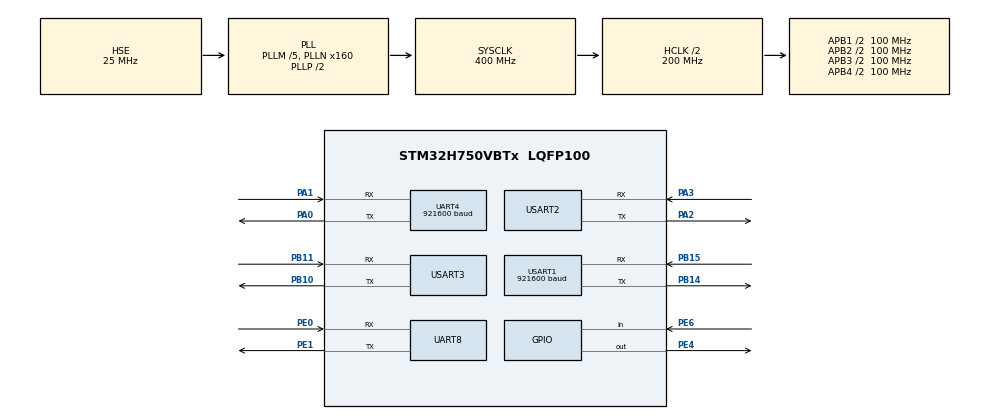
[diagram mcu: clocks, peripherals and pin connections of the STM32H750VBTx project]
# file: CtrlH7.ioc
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CORTEX_M7.CPU_DCache=Enabled
CORTEX_M7.CPU_ICache=Enabled
Dma.Request0=USART1_RX
Dma.Request1=USART1_TX
Dma.Request2=USART2_RX
Dma.Request3=USART3_RX
Dma.Request4=UART4_RX
Dma.Request5=UART4_TX
Dma.Request6=UART8_RX
Dma.Request7=UART8_TX
Dma.Request8=USART2_TX
Dma.UART4_RX.4.Direction=DMA_PERIPH_TO_MEMORY
Dma.UART4_RX.4.EventEnable=DISABLE
Dma.UART4_RX.4.FIFOMode=DMA_FIFOMODE_DISABLE
Dma.UART4_RX.4.Instance=DMA1_Stream4
Dma.UART4_RX.4.MemDataAlignment=DMA_MDATAALIGN_BYTE
Dma.UART4_RX.4.MemInc=DMA_MINC_ENABLE
Dma.UART4_RX.4.Mode=DMA_NORMAL
Dma.UART4_RX.4.PeriphDataAlignment=DMA_PDATAALIGN_BYTE
Dma.UART4_RX.4.PeriphInc=DMA_PINC_DISABLE
Dma.UART4_RX.4.Polarity=HAL_DMAMUX_REQ_GEN_RISING
Dma.UART4_RX.4.Priority=DMA_PRIORITY_LOW
Dma.UART4_RX.4.RequestNumber=1
Dma.UART4_RX.4.SignalID=NONE
Dma.UART4_RX.4.SyncEnable=DISABLE
Dma.UART4_RX.4.SyncPolarity=HAL_DMAMUX_SYNC_NO_EVENT
Dma.UART4_RX.4.SyncRequestNumber=1
Dma.UART4_RX.4.SyncSignalID=NONE
Dma.UART4_TX.5.Direction=DMA_MEMORY_TO_PERIPH
Dma.UART4_TX.5.EventEnable=DISABLE
Dma.UART4_TX.5.FIFOMode=DMA_FIFOMODE_DISABLE
Dma.UART4_TX.5.Instance=DMA1_Stream5
Dma.UART4_TX.5.MemDataAlignment=DMA_MDATAALIGN_BYTE
Dma.UART4_TX.5.MemInc=DMA_MINC_ENABLE
Dma.UART4_TX.5.Mode=DMA_NORMAL
Dma.UART4_TX.5.PeriphDataAlignment=DMA_PDATAALIGN_BYTE
Dma.UART4_TX.5.PeriphInc=DMA_PINC_DISABLE
Dma.UART4_TX.5.Polarity=HAL_DMAMUX_REQ_GEN_RISING
Dma.UART4_TX.5.Priority=DMA_PRIORITY_LOW
Dma.UART4_TX.5.RequestNumber=1
Dma.UART4_TX.5.SignalID=NONE
Dma.UART4_TX.5.SyncEnable=DISABLE
Dma.UART4_TX.5.SyncPolarity=HAL_DMAMUX_SYNC_NO_EVENT
Dma.UART4_TX.5.SyncRequestNumber=1
Dma.UART4_TX.5.SyncSignalID=NONE
Dma.UART8_RX.6.Direction=DMA_PERIPH_TO_MEMORY
Dma.UART8_RX.6.EventEnable=DISABLE
Dma.UART8_RX.6.FIFOMode=DMA_FIFOMODE_DISABLE
Dma.UART8_RX.6.Instance=DMA1_Stream6
Dma.UART8_RX.6.MemDataAlignment=DMA_MDATAALIGN_BYTE
Dma.UART8_RX.6.MemInc=DMA_MINC_ENABLE
Dma.UART8_RX.6.Mode=DMA_NORMAL
Dma.UART8_RX.6.PeriphDataAlignment=DMA_PDATAALIGN_BYTE
Dma.UART8_RX.6.PeriphInc=DMA_PINC_DISABLE
Dma.UART8_RX.6.Polarity=HAL_DMAMUX_REQ_GEN_RISING
Dma.UART8_RX.6.Priority=DMA_PRIORITY_LOW
Dma.UART8_RX.6.RequestNumber=1
Dma.UART8_RX.6.SignalID=NONE
Dma.UART8_RX.6.SyncEnable=DISABLE
Dma.UART8_RX.6.SyncPolarity=HAL_DMAMUX_SYNC_NO_EVENT
Dma.UART8_RX.6.SyncRequestNumber=1
Dma.UART8_RX.6.SyncSignalID=NONE
Dma.UART8_TX.7.Direction=DMA_MEMORY_TO_PERIPH
Dma.UART8_TX.7.EventEnable=DISABLE
Dma.UART8_TX.7.FIFOMode=DMA_FIFOMODE_DISABLE
Dma.UART8_TX.7.Instance=DMA1_Stream7
Dma.UART8_TX.7.MemDataAlignment=DMA_MDATAALIGN_BYTE
Dma.UART8_TX.7.MemInc=DMA_MINC_ENABLE
Dma.UART8_TX.7.Mode=DMA_NORMAL
Dma.UART8_TX.7.PeriphDataAlignment=DMA_PDATAALIGN_BYTE
Dma.UART8_TX.7.PeriphInc=DMA_PINC_DISABLE
Dma.UART8_TX.7.Polarity=HAL_DMAMUX_REQ_GEN_RISING
Dma.UART8_TX.7.Priority=DMA_PRIORITY_LOW
Dma.UART8_TX.7.RequestNumber=1
Dma.UART8_TX.7.SignalID=NONE
Dma.UART8_TX.7.SyncEnable=DISABLE
Dma.UART8_TX.7.SyncPolarity=HAL_DMAMUX_SYNC_NO_EVENT
Dma.UART8_TX.7.SyncRequestNumber=1
Dma.UART8_TX.7.SyncSignalID=NONE
Dma.USART1_RX.0.Direction=DMA_PERIPH_TO_MEMORY
Dma.USART1_RX.0.EventEnable=DISABLE
Dma.USART1_RX.0.FIFOMode=DMA_FIFOMODE_DISABLE
Dma.USART1_RX.0.Instance=DMA1_Stream0
Dma.USART1_RX.0.MemDataAlignment=DMA_MDATAALIGN_BYTE
Dma.USART1_RX.0.MemInc=DMA_MINC_ENABLE
Dma.USART1_RX.0.Mode=DMA_NORMAL
Dma.USART1_RX.0.PeriphDataAlignment=DMA_PDATAALIGN_BYTE
Dma.USART1_RX.0.PeriphInc=DMA_PINC_DISABLE
Dma.USART1_RX.0.Polarity=HAL_DMAMUX_REQ_GEN_RISING
Dma.USART1_RX.0.Priority=DMA_PRIORITY_LOW
Dma.USART1_RX.0.RequestNumber=1
Dma.USART1_RX.0.SignalID=NONE
Dma.USART1_RX.0.SyncEnable=DISABLE
Dma.USART1_RX.0.SyncPolarity=HAL_DMAMUX_SYNC_NO_EVENT
Dma.USART1_RX.0.SyncRequestNumber=1
Dma.USART1_RX.0.SyncSignalID=NONE
Dma.USART1_TX.1.Direction=DMA_MEMORY_TO_PERIPH
Dma.USART1_TX.1.EventEnable=DISABLE
Dma.USART1_TX.1.FIFOMode=DMA_FIFOMODE_DISABLE
Dma.USART1_TX.1.Instance=DMA1_Stream1
Dma.USART1_TX.1.MemDataAlignment=DMA_MDATAALIGN_BYTE
Dma.USART1_TX.1.MemInc=DMA_MINC_ENABLE
Dma.USART1_TX.1.Mode=DMA_NORMAL
Dma.USART1_TX.1.PeriphDataAlignment=DMA_PDATAALIGN_BYTE
Dma.USART1_TX.1.PeriphInc=DMA_PINC_DISABLE
Dma.USART1_TX.1.Polarity=HAL_DMAMUX_REQ_GEN_RISING
Dma.USART1_TX.1.Priority=DMA_PRIORITY_LOW
Dma.USART1_TX.1.RequestNumber=1
Dma.USART1_TX.1.SignalID=NONE
Dma.USART1_TX.1.SyncEnable=DISABLE
Dma.USART1_TX.1.SyncPolarity=HAL_DMAMUX_SYNC_NO_EVENT
Dma.USART1_TX.1.SyncRequestNumber=1
Dma.USART1_TX.1.SyncSignalID=NONE
Dma.USART2_RX.2.Direction=DMA_PERIPH_TO_MEMORY
Dma.USART2_RX.2.EventEnable=DISABLE
Dma.USART2_RX.2.FIFOMode=DMA_FIFOMODE_DISABLE
Dma.USART2_RX.2.Instance=DMA1_Stream2
Dma.USART2_RX.2.MemDataAlignment=DMA_MDATAALIGN_BYTE
Dma.USART2_RX.2.MemInc=DMA_MINC_ENABLE
Dma.USART2_RX.2.Mode=DMA_NORMAL
Dma.USART2_RX.2.PeriphDataAlignment=DMA_PDATAALIGN_BYTE
Dma.USART2_RX.2.PeriphInc=DMA_PINC_DISABLE
Dma.USART2_RX.2.Polarity=HAL_DMAMUX_REQ_GEN_RISING
Dma.USART2_RX.2.Priority=DMA_PRIORITY_LOW
Dma.USART2_RX.2.RequestNumber=1
Dma.USART2_RX.2.SignalID=NONE
Dma.USART2_RX.2.SyncEnable=DISABLE
Dma.USART2_RX.2.SyncPolarity=HAL_DMAMUX_SYNC_NO_EVENT
Dma.USART2_RX.2.SyncRequestNumber=1
Dma.USART2_RX.2.SyncSignalID=NONE
Dma.USART2_TX.8.Direction=DMA_MEMORY_TO_PERIPH
Dma.USART2_TX.8.EventEnable=DISABLE
Dma.USART2_TX.8.FIFOMode=DMA_FIFOMODE_DISABLE
Dma.USART2_TX.8.Instance=DMA2_Stream0
Dma.USART2_TX.8.MemDataAlignment=DMA_MDATAALIGN_BYTE
Dma.USART2_TX.8.MemInc=DMA_MINC_ENABLE
Dma.USART2_TX.8.Mode=DMA_NORMAL
Dma.USART2_TX.8.PeriphDataAlignment=DMA_PDATAALIGN_BYTE
Dma.USART2_TX.8.PeriphInc=DMA_PINC_DISABLE
Dma.USART2_TX.8.Polarity=HAL_DMAMUX_REQ_GEN_RISING
Dma.USART2_TX.8.Priority=DMA_PRIORITY_LOW
Dma.USART2_TX.8.RequestNumber=1
Dma.USART2_TX.8.SignalID=NONE
Dma.USART2_TX.8.SyncEnable=DISABLE
Dma.USART2_TX.8.SyncPolarity=HAL_DMAMUX_SYNC_NO_EVENT
Dma.USART2_TX.8.SyncRequestNumber=1
Dma.USART2_TX.8.SyncSignalID=NONE
Dma.USART3_RX.3.Direction=DMA_PERIPH_TO_MEMORY
Dma.USART3_RX.3.EventEnable=DISABLE
Dma.USART3_RX.3.FIFOMode=DMA_FIFOMODE_DISABLE
Dma.USART3_RX.3.Instance=DMA1_Stream3
Dma.USART3_RX.3.MemDataAlignment=DMA_MDATAALIGN_BYTE
Dma.USART3_RX.3.MemInc=DMA_MINC_ENABLE
Dma.USART3_RX.3.Mode=DMA_NORMAL
Dma.USART3_RX.3.PeriphDataAlignment=DMA_PDATAALIGN_BYTE
Dma.USART3_RX.3.PeriphInc=DMA_PINC_DISABLE
Dma.USART3_RX.3.Polarity=HAL_DMAMUX_REQ_GEN_RISING
Dma.USART3_RX.3.Priority=DMA_PRIORITY_LOW
Dma.USART3_RX.3.RequestNumber=1
Dma.USART3_RX.3.SignalID=NONE
Dma.USART3_RX.3.SyncEnable=DISABLE
Dma.USART3_RX.3.SyncPolarity=HAL_DMAMUX_SYNC_NO_EVENT
Dma.USART3_RX.3.SyncRequestNumber=1
Dma.USART3_RX.3.SyncSignalID=NONE
FREERTOS.Tasks01=UpTask,0,128,UpTaskF,Default,NULL,Dynamic,NULL,NULL;DownTask,0,128,DownTaskF,Default,NULL,Dynamic,NULL,NULL;InitialTask,3,128,InitialTaskF,Default,NULL,Dynamic,NULL,NULL;SensorTask,0,128,SensorTaskF,Default,NULL,Dynamic,NULL,NULL;EmptyTask,-3,128,EmptyTaskF,Default,NULL,Dynamic,NULL,NULL
FREERTOS.configENABLE_FPU=1
IWDG1.Reload=2047
IWDG1.Window=2047
Mcu.Family=STM32H7
Mcu.Name=STM32H750VBTx
Mcu.Package=LQFP100
NVIC.DMA1_Stream0_IRQn=true\:5\:0\:false\:false\:true\:true\:false\:true
NVIC.DMA1_Stream1_IRQn=true\:5\:0\:false\:false\:true\:true\:false\:true
NVIC.DMA1_Stream2_IRQn=true\:5\:0\:false\:false\:true\:true\:false\:true
NVIC.DMA1_Stream3_IRQn=true\:5\:0\:false\:false\:true\:true\:false\:true
NVIC.DMA1_Stream4_IRQn=true\:5\:0\:false\:false\:true\:true\:false\:true
NVIC.DMA1_Stream5_IRQn=true\:5\:0\:false\:false\:true\:true\:false\:true
NVIC.DMA1_Stream6_IRQn=true\:5\:0\:false\:false\:true\:true\:false\:true
NVIC.DMA1_Stream7_IRQn=true\:5\:0\:false\:false\:true\:true\:false\:true
NVIC.DMA2_Stream0_IRQn=true\:5\:0\:false\:false\:true\:true\:false\:true
NVIC.PriorityGroup=NVIC_PRIORITYGROUP_4
NVIC.TIM6_DAC_IRQn=true\:0\:0\:false\:false\:true\:false\:false\:true
NVIC.TimeBase=TIM6_DAC_IRQn
NVIC.TimeBaseIP=TIM6
NVIC.UART4_IRQn=true\:5\:0\:false\:false\:true\:true\:true\:true
NVIC.UART8_IRQn=true\:5\:0\:false\:false\:true\:true\:true\:true
NVIC.USART1_IRQn=true\:5\:0\:false\:false\:true\:true\:true\:true
NVIC.USART2_IRQn=true\:5\:0\:false\:false\:true\:true\:true\:true
NVIC.USART3_IRQn=true\:5\:0\:false\:false\:true\:true\:true\:true
PA0.Mode=Asynchronous
PA0.Signal=UART4_TX
PA1.Mode=Asynchronous
PA1.Signal=UART4_RX
PA13\ (JTMS/SWDIO).Mode=Serial_Wire
PA13\ (JTMS/SWDIO).Signal=DEBUG_JTMS-SWDIO
PA14\ (JTCK/SWCLK).Mode=Serial_Wire
PA14\ (JTCK/SWCLK).Signal=DEBUG_JTCK-SWCLK
PA2.Mode=Asynchronous
PA2.Signal=USART2_TX
PA3.Mode=Asynchronous
PA3.Signal=USART2_RX
PB10.Mode=Asynchronous
PB10.Signal=USART3_TX
PB11.Mode=Asynchronous
PB11.Signal=USART3_RX
PB14.Mode=Asynchronous
PB14.Signal=USART1_TX
PB15.Mode=Asynchronous
PB15.Signal=USART1_RX
PC14-OSC32_IN\ (OSC32_IN).Mode=LSE-External-Oscillator
PC14-OSC32_IN\ (OSC32_IN).Signal=RCC_OSC32_IN
PC15-OSC32_OUT\ (OSC32_OUT).Mode=LSE-External-Oscillator
PC15-OSC32_OUT\ (OSC32_OUT).Signal=RCC_OSC32_OUT
PE0.Mode=Asynchronous
PE0.Signal=UART8_RX
PE1.Mode=Asynchronous
PE1.Signal=UART8_TX
PE4.Signal=GPIO_Output
PE6.Signal=GPIO_Input
PH0-OSC_IN\ (PH0).Mode=HSE-External-Oscillator
PH0-OSC_IN\ (PH0).Signal=RCC_OSC_IN
PH1-OSC_OUT\ (PH1).Mode=HSE-External-Oscillator
PH1-OSC_OUT\ (PH1).Signal=RCC_OSC_OUT
ProjectManager.HeapSize=0x200
ProjectManager.StackSize=0x400
ProjectManager.TargetToolchain=MDK-ARM V5.27
RCC.ADCFreq_Value=75000000
RCC.APB1Freq_Value=100000000
RCC.APB2Freq_Value=100000000
RCC.APB3Freq_Value=100000000
RCC.APB4Freq_Value=100000000
RCC.CortexFreq_Value=400000000
RCC.D1PPRE=RCC_APB3_DIV2
RCC.D2PPRE1=RCC_APB1_DIV2
RCC.D2PPRE2=RCC_APB2_DIV2
RCC.D3PPRE=RCC_APB4_DIV2
RCC.DIVM1=5
RCC.DIVM2=2
RCC.DIVM3=25
RCC.DIVN1=160
RCC.DIVN2=12
RCC.DIVN3=192
RCC.DIVQ1=6
RCC.DIVQ2=1
RCC.HCLKFreq_Value=200000000
RCC.HPRE=RCC_HCLK_DIV2
RCC.PLLSourceVirtual=RCC_PLLSOURCE_HSE
RCC.QSPICLockSelection=RCC_QSPICLKSOURCE_PLL
RCC.SYSCLKFreq_VALUE=400000000
RCC.SYSCLKSource=RCC_SYSCLKSOURCE_PLLCLK
RCC.SupplySource=PWR_LDO_SUPPLY
RCC.USART16CLockSelection=RCC_USART16CLKSOURCE_PLL3
RCC.USART234578CLockSelection=RCC_USART234578CLKSOURCE_PLL3
RCC.USBFreq_Value=133333333.33333333
UART4.BaudRate=921600
USART1.BaudRate=921600
USART1.VirtualMode-Asynchronous=VM_ASYNC
USART2.VirtualMode-Asynchronous=VM_ASYNC
USART3.VirtualMode-Asynchronous=VM_ASYNC
VP_FREERTOS_VS_CMSIS_V1.Mode=CMSIS_V1
VP_IWDG1_VS_IWDG.Mode=IWDG_Activate
VP_SYS_VS_tim6.Mode=TIM6
board=custom

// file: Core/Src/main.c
/* USER CODE BEGIN Header */
/**
 ******************************************************************************
 * @file           : main.c
 * @brief          : Main program body
 ******************************************************************************
 * @attention
 *
 * <h2><center>&copy; Copyright (c) 2021 STMicroelectronics.
 * All rights reserved.</center></h2>
 *
 * This software component is licensed by ST under Ultimate Liberty license
 * SLA0044, the "License"; You may not use this file except in compliance with
 * the License. You may obtain a copy of the License at:
 *                             www.st.com/SLA0044
 *
 ******************************************************************************
 */
/* USER CODE END Header */
#include "main.h"
#include "cmsis_os.h"

/* USER CODE BEGIN PM */
u8 SensorCabin = 0; 		//上传传感器仓位标志位
u8 UpSideFinish = 0; 		//上位机接收完毕标志位
u8 DownSideFinish = 0; 		//下位机接收完毕标志位

//传感器读取完成标志位
u8 DeepFinish = 0;			//水深传感器读取完成标志位
u8 GY39Finish = 0;			//温湿度大气压传感器读取完成标志位
u8 WT931Finish = 0;			//九轴读取完成标志位

//传感器缓存读写标志位
volatile u8 DeepIO = 0;		//水深传感器缓存读写标志位
volatile u8 GY39IO = 0;		//温湿度大气压传感器缓存读写标志位
volatile u8 WT931IO = 0;	//九轴缓存读写标志位

volatile u8 UpIO = 0; 		//上位发送指令读写标志位
volatile u8 DownIO = 0;		//下位回传数据读写标志位

u8 DownEn = 0; 				//允许下位机数据回传标志位

u8 UpCache[UART1RXLen]; 	//上位发送数据缓存
u8 DownCache[UART8RXLen]; 	//下位回传数据缓存

u8 DIPFlag = 0; 			//定向定深初始标志位
u16 DIPStartNum = 0; 		//定向定深初始值

u8 WaterDetect = 0;			//漏水检测标志位

//传感器缓存区
u16 AccelerationCache[3] =
{ 0 }; //加速度值缓存区
u16 RotSpeedCache[3] =
{ 0 }; //角速度值缓存区
u16 EulerAngleCache[3] =
{ 0 }; //角度值缓存区
u16 MagnetisCache[3] =
{ 0 }; //磁偏角值缓存区
u16 TemCache = 0; //温度值缓存区
u16 BaroCache[2] =
{ 0 }; //大气压值缓存区
u16 HumCache = 0; //湿度值缓存区
u16 DepthCache = 0; //水深值缓存区
u16 WaterTempertureCache = 0; //水温值缓存区

u8 WT931Len = 0; //传感器数据长度

//串口1DMA缓存
u8 UART1RXCache[UART1RXLen]; //上位机（MT7621）指令接收缓存区
u8 UART1TXCache_P[UART1TXLen]; //上位机（MT7621）传感器数据发缓存区，数据来自下位仓STM32
u8 UART1TXCache_C[UART1TXLen]; //上位机（MT7621）传感器数据发缓存区，数据来自本仓传感器
//串口2DMA缓存
u8 UART2RXCache[UART2RXLen]; //温湿度大气压传感器串口数据接收缓存区
u8 UART2TXCache[UART2TXLen]; //温湿度大气压传感器串口数据发送缓存区
//串口3DMA缓存
u8 UART3RXCache[UART3RXLen]; //九轴传感器串口数据接收缓存区
//串口4DMA缓存
u8 UART4RXCache[UART4RXLen]; //深度传感器（解算板）数据接收缓存区
u8 UART4TXCache[UART4TXLen]; //深度传感器（解算板）数据发送缓存区
//串口8DMA缓存
u8 UART8RXCache[UART8RXLen]; //下位仓通信串口数据接收缓存
u8 UART8TXCache[UART8TXLen]; //下位仓通信串口数据发送缓存

/* USER CODE END PM */

IWDG_HandleTypeDef hiwdg1;

UART_HandleTypeDef huart4;
UART_HandleTypeDef huart8;
UART_HandleTypeDef huart1;
UART_HandleTypeDef huart2;
UART_HandleTypeDef huart3;
DMA_HandleTypeDef hdma_uart4_rx;
DMA_HandleTypeDef hdma_uart4_tx;
DMA_HandleTypeDef hdma_uart8_rx;
DMA_HandleTypeDef hdma_uart8_tx;
DMA_HandleTypeDef hdma_usart1_rx;
DMA_HandleTypeDef hdma_usart1_tx;
DMA_HandleTypeDef hdma_usart2_rx;
DMA_HandleTypeDef hdma_usart2_tx;
DMA_HandleTypeDef hdma_usart3_rx;

osThreadId UpTaskHandle;
osThreadId DownTaskHandle;
osThreadId InitialTaskHandle;
osThreadId SensorTaskHandle;
osThreadId EmptyTaskHandle;

void SystemClock_Config(void);
void PeriphCommonClock_Config(void);
static void MX_GPIO_Init(void);
static void MX_DMA_Init(void);
static void MX_IWDG1_Init(void);
static void MX_UART4_Init(void);
static void MX_UART8_Init(void);
static void MX_USART1_UART_Init(void);
static void MX_USART2_UART_Init(void);
static void MX_USART3_UART_Init(void);
void UpTaskF(void const * argument);
void DownTaskF(void const * argument);
void InitialTaskF(void const * argument);
void SensorTaskF(void const * argument);
void EmptyTaskF(void const * argument);

int main(void)
{

  /* Enable I-Cache---------------------------------------------------------*/
  SCB_EnableICache();

  /* Enable D-Cache---------------------------------------------------------*/
  SCB_EnableDCache();

  /* MCU Configuration--------------------------------------------------------*/

  /* Reset of all peripherals, Initializes the Flash interface and the Systick. */
  HAL_Init();

  /* Configure the system clock */
  SystemClock_Config();

/* Configure the peripherals common clocks */
  PeriphCommonClock_Config();

  /* Initialize all configured peripherals */
  MX_GPIO_Init();
  MX_DMA_Init();
  MX_IWDG1_Init();
  MX_UART4_Init();
  MX_UART8_Init();
  MX_USART1_UART_Init();
  MX_USART2_UART_Init();
  MX_USART3_UART_Init();

  /* Create the thread(s) */
  /* definition and creation of UpTask */
  osThreadDef(UpTask, UpTaskF, osPriorityNormal, 0, 128);
  UpTaskHandle = osThreadCreate(osThread(UpTask), NULL);

  /* definition and creation of DownTask */
  osThreadDef(DownTask, DownTaskF, osPriorityNormal, 0, 128);
  DownTaskHandle = osThreadCreate(osThread(DownTask), NULL);

  /* definition and creation of InitialTask */
  osThreadDef(InitialTask, InitialTaskF, osPriorityRealtime, 0, 128);
  InitialTaskHandle = osThreadCreate(osThread(InitialTask), NULL);

  /* definition and creation of SensorTask */
  osThreadDef(SensorTask, SensorTaskF, osPriorityNormal, 0, 128);
  SensorTaskHandle = osThreadCreate(osThread(SensorTask), NULL);

  /* definition and creation of EmptyTask */
  osThreadDef(EmptyTask, EmptyTaskF, osPriorityIdle, 0, 128);
  EmptyTaskHandle = osThreadCreate(osThread(EmptyTask), NULL);

  /* Start scheduler */
  osKernelStart();

  /* We should never get here as control is now taken by the scheduler */
  /* Infinite loop */
	while (1)
	{

	}
}

void SystemClock_Config(void)
{
  RCC_OscInitTypeDef RCC_OscInitStruct = {0};
  RCC_ClkInitTypeDef RCC_ClkInitStruct = {0};

  /** Supply configuration update enable
  */
  HAL_PWREx_ConfigSupply(PWR_LDO_SUPPLY);
  /** Configure the main internal regulator output voltage
  */
  __HAL_PWR_VOLTAGESCALING_CONFIG(PWR_REGULATOR_VOLTAGE_SCALE1);

  while(!__HAL_PWR_GET_FLAG(PWR_FLAG_VOSRDY)) {}
  /** Macro to configure the PLL clock source
  */
  __HAL_RCC_PLL_PLLSOURCE_CONFIG(RCC_PLLSOURCE_HSE);
  /** Initializes the RCC Oscillators according to the specified parameters
  * in the RCC_OscInitTypeDef structure.
  */
  RCC_OscInitStruct.OscillatorType = RCC_OSCILLATORTYPE_LSI|RCC_OSCILLATORTYPE_HSE;
  RCC_OscInitStruct.HSEState = RCC_HSE_ON;
  RCC_OscInitStruct.LSIState = RCC_LSI_ON;
  RCC_OscInitStruct.PLL.PLLState = RCC_PLL_ON;
  RCC_OscInitStruct.PLL.PLLSource = RCC_PLLSOURCE_HSE;
  RCC_OscInitStruct.PLL.PLLM = 5;
  RCC_OscInitStruct.PLL.PLLN = 160;
  RCC_OscInitStruct.PLL.PLLP = 2;
  RCC_OscInitStruct.PLL.PLLQ = 6;
  RCC_OscInitStruct.PLL.PLLR = 2;
  RCC_OscInitStruct.PLL.PLLRGE = RCC_PLL1VCIRANGE_2;
  RCC_OscInitStruct.PLL.PLLVCOSEL = RCC_PLL1VCOWIDE;
  RCC_OscInitStruct.PLL.PLLFRACN = 0;
  if (HAL_RCC_OscConfig(&RCC_OscInitStruct) != HAL_OK)
  {
    Error_Handler();
  }
  /** Initializes the CPU, AHB and APB buses clocks
  */
  RCC_ClkInitStruct.ClockType = RCC_CLOCKTYPE_HCLK|RCC_CLOCKTYPE_SYSCLK
                              |RCC_CLOCKTYPE_PCLK1|RCC_CLOCKTYPE_PCLK2
                              |RCC_CLOCKTYPE_D3PCLK1|RCC_CLOCKTYPE_D1PCLK1;
  RCC_ClkInitStruct.SYSCLKSource = RCC_SYSCLKSOURCE_PLLCLK;
  RCC_ClkInitStruct.SYSCLKDivider = RCC_SYSCLK_DIV1;
  RCC_ClkInitStruct.AHBCLKDivider = RCC_HCLK_DIV2;
  RCC_ClkInitStruct.APB3CLKDivider = RCC_APB3_DIV2;
  RCC_ClkInitStruct.APB1CLKDivider = RCC_APB1_DIV2;
  RCC_ClkInitStruct.APB2CLKDivider = RCC_APB2_DIV2;
  RCC_ClkInitStruct.APB4CLKDivider = RCC_APB4_DIV2;

  if (HAL_RCC_ClockConfig(&RCC_ClkInitStruct, FLASH_LATENCY_2) != HAL_OK)
  {
    Error_Handler();
  }
}

void PeriphCommonClock_Config(void)
{
  RCC_PeriphCLKInitTypeDef PeriphClkInitStruct = {0};

  /** Initializes the peripherals clock
  */
  PeriphClkInitStruct.PeriphClockSelection = RCC_PERIPHCLK_UART8|RCC_PERIPHCLK_USART1
                              |RCC_PERIPHCLK_UART4|RCC_PERIPHCLK_USART2
                              |RCC_PERIPHCLK_USART3;
  PeriphClkInitStruct.PLL3.PLL3M = 25;
  PeriphClkInitStruct.PLL3.PLL3N = 192;
  PeriphClkInitStruct.PLL3.PLL3P = 2;
  PeriphClkInitStruct.PLL3.PLL3Q = 2;
  PeriphClkInitStruct.PLL3.PLL3R = 2;
  PeriphClkInitStruct.PLL3.PLL3RGE = RCC_PLL3VCIRANGE_0;
  PeriphClkInitStruct.PLL3.PLL3VCOSEL = RCC_PLL3VCOWIDE;
  PeriphClkInitStruct.PLL3.PLL3FRACN = 0;
  PeriphClkInitStruct.Usart234578ClockSelection = RCC_USART234578CLKSOURCE_PLL3;
  PeriphClkInitStruct.Usart16ClockSelection = RCC_USART16CLKSOURCE_PLL3;
  if (HAL_RCCEx_PeriphCLKConfig(&PeriphClkInitStruct) != HAL_OK)
  {
    Error_Handler();
  }
}

static void MX_IWDG1_Init(void)
{

  hiwdg1.Instance = IWDG1;
  hiwdg1.Init.Prescaler = IWDG_PRESCALER_4;
  hiwdg1.Init.Window = 2047;
  hiwdg1.Init.Reload = 2047;
  if (HAL_IWDG_Init(&hiwdg1) != HAL_OK)
  {
    Error_Handler();
  }

}

static void MX_UART4_Init(void)
{

  huart4.Instance = UART4;
  huart4.Init.BaudRate = 921600;
  huart4.Init.WordLength = UART_WORDLENGTH_8B;
  huart4.Init.StopBits = UART_STOPBITS_1;
  huart4.Init.Parity = UART_PARITY_NONE;
  huart4.Init.Mode = UART_MODE_TX_RX;
  huart4.Init.HwFlowCtl = UART_HWCONTROL_NONE;
  huart4.Init.OverSampling = UART_OVERSAMPLING_16;
  huart4.Init.OneBitSampling = UART_ONE_BIT_SAMPLE_DISABLE;
  huart4.Init.ClockPrescaler = UART_PRESCALER_DIV1;
  huart4.AdvancedInit.AdvFeatureInit = UART_ADVFEATURE_NO_INIT;
  if (HAL_UART_Init(&huart4) != HAL_OK)
  {
    Error_Handler();
  }
  if (HAL_UARTEx_SetTxFifoThreshold(&huart4, UART_TXFIFO_THRESHOLD_1_8) != HAL_OK)
  {
    Error_Handler();
  }
  if (HAL_UARTEx_SetRxFifoThreshold(&huart4, UART_RXFIFO_THRESHOLD_1_8) != HAL_OK)
  {
    Error_Handler();
  }
  if (HAL_UARTEx_DisableFifoMode(&huart4) != HAL_OK)
  {
    Error_Handler();
  }

}

static void MX_UART8_Init(void)
{

  huart8.Instance = UART8;
  huart8.Init.BaudRate = 115200;
  huart8.Init.WordLength = UART_WORDLENGTH_8B;
  huart8.Init.StopBits = UART_STOPBITS_1;
  huart8.Init.Parity = UART_PARITY_NONE;
  huart8.Init.Mode = UART_MODE_TX_RX;
  huart8.Init.HwFlowCtl = UART_HWCONTROL_NONE;
  huart8.Init.OverSampling = UART_OVERSAMPLING_16;
  huart8.Init.OneBitSampling = UART_ONE_BIT_SAMPLE_DISABLE;
  huart8.Init.ClockPrescaler = UART_PRESCALER_DIV1;
  huart8.AdvancedInit.AdvFeatureInit = UART_ADVFEATURE_NO_INIT;
  if (HAL_UART_Init(&huart8) != HAL_OK)
  {
    Error_Handler();
  }
  if (HAL_UARTEx_SetTxFifoThreshold(&huart8, UART_TXFIFO_THRESHOLD_1_8) != HAL_OK)
  {
    Error_Handler();
  }
  if (HAL_UARTEx_SetRxFifoThreshold(&huart8, UART_RXFIFO_THRESHOLD_1_8) != HAL_OK)
  {
    Error_Handler();
  }
  if (HAL_UARTEx_DisableFifoMode(&huart8) != HAL_OK)
  {
    Error_Handler();
  }

}

static void MX_USART1_UART_Init(void)
{

  huart1.Instance = USART1;
  huart1.Init.BaudRate = 921600;
  huart1.Init.WordLength = UART_WORDLENGTH_8B;
  huart1.Init.StopBits = UART_STOPBITS_1;
  huart1.Init.Parity = UART_PARITY_NONE;
  huart1.Init.Mode = UART_MODE_TX_RX;
  huart1.Init.HwFlowCtl = UART_HWCONTROL_NONE;
  huart1.Init.OverSampling = UART_OVERSAMPLING_16;
  huart1.Init.OneBitSampling = UART_ONE_BIT_SAMPLE_DISABLE;
  huart1.Init.ClockPrescaler = UART_PRESCALER_DIV1;
  huart1.AdvancedInit.AdvFeatureInit = UART_ADVFEATURE_NO_INIT;
  if (HAL_UART_Init(&huart1) != HAL_OK)
  {
    Error_Handler();
  }
  if (HAL_UARTEx_SetTxFifoThreshold(&huart1, UART_TXFIFO_THRESHOLD_1_8) != HAL_OK)
  {
    Error_Handler();
  }
  if (HAL_UARTEx_SetRxFifoThreshold(&huart1, UART_RXFIFO_THRESHOLD_1_8) != HAL_OK)
  {
    Error_Handler();
  }
  if (HAL_UARTEx_DisableFifoMode(&huart1) != HAL_OK)
  {
    Error_Handler();
  }

}

static void MX_USART2_UART_Init(void)
{

  huart2.Instance = USART2;
  huart2.Init.BaudRate = 115200;
  huart2.Init.WordLength = UART_WORDLENGTH_8B;
  huart2.Init.StopBits = UART_STOPBITS_1;
  huart2.Init.Parity = UART_PARITY_NONE;
  huart2.Init.Mode = UART_MODE_TX_RX;
  huart2.Init.HwFlowCtl = UART_HWCONTROL_NONE;
  huart2.Init.OverSampling = UART_OVERSAMPLING_16;
  huart2.Init.OneBitSampling = UART_ONE_BIT_SAMPLE_DISABLE;
  huart2.Init.ClockPrescaler = UART_PRESCALER_DIV1;
  huart2.AdvancedInit.AdvFeatureInit = UART_ADVFEATURE_NO_INIT;
  if (HAL_UART_Init(&huart2) != HAL_OK)
  {
    Error_Handler();
  }
  if (HAL_UARTEx_SetTxFifoThreshold(&huart2, UART_TXFIFO_THRESHOLD_1_8) != HAL_OK)
  {
    Error_Handler();
  }
  if (HAL_UARTEx_SetRxFifoThreshold(&huart2, UART_RXFIFO_THRESHOLD_1_8) != HAL_OK)
  {
    Error_Handler();
  }
  if (HAL_UARTEx_DisableFifoMode(&huart2) != HAL_OK)
  {
    Error_Handler();
  }

}

static void MX_USART3_UART_Init(void)
{

  huart3.Instance = USART3;
  huart3.Init.BaudRate = 115200;
  huart3.Init.WordLength = UART_WORDLENGTH_8B;
  huart3.Init.StopBits = UART_STOPBITS_1;
  huart3.Init.Parity = UART_PARITY_NONE;
  huart3.Init.Mode = UART_MODE_TX_RX;
  huart3.Init.HwFlowCtl = UART_HWCONTROL_NONE;
  huart3.Init.OverSampling = UART_OVERSAMPLING_16;
  huart3.Init.OneBitSampling = UART_ONE_BIT_SAMPLE_DISABLE;
  huart3.Init.ClockPrescaler = UART_PRESCALER_DIV1;
  huart3.AdvancedInit.AdvFeatureInit = UART_ADVFEATURE_NO_INIT;
  if (HAL_UART_Init(&huart3) != HAL_OK)
  {
    Error_Handler();
  }
  if (HAL_UARTEx_SetTxFifoThreshold(&huart3, UART_TXFIFO_THRESHOLD_1_8) != HAL_OK)
  {
    Error_Handler();
  }
  if (HAL_UARTEx_SetRxFifoThreshold(&huart3, UART_RXFIFO_THRESHOLD_1_8) != HAL_OK)
  {
    Error_Handler();
  }
  if (HAL_UARTEx_DisableFifoMode(&huart3) != HAL_OK)
  {
    Error_Handler();
  }

}

static void MX_DMA_Init(void)
{

  /* DMA controller clock enable */
  __HAL_RCC_DMA1_CLK_ENABLE();
  __HAL_RCC_DMA2_CLK_ENABLE();

  /* DMA interrupt init */
  /* DMA1_Stream0_IRQn interrupt configuration */
  HAL_NVIC_SetPriority(DMA1_Stream0_IRQn, 5, 0);
  HAL_NVIC_EnableIRQ(DMA1_Stream0_IRQn);
  /* DMA1_Stream1_IRQn interrupt configuration */
  HAL_NVIC_SetPriority(DMA1_Stream1_IRQn, 5, 0);
  HAL_NVIC_EnableIRQ(DMA1_Stream1_IRQn);
  /* DMA1_Stream2_IRQn interrupt configuration */
  HAL_NVIC_SetPriority(DMA1_Stream2_IRQn, 5, 0);
  HAL_NVIC_EnableIRQ(DMA1_Stream2_IRQn);
  /* DMA1_Stream3_IRQn interrupt configuration */
  HAL_NVIC_SetPriority(DMA1_Stream3_IRQn, 5, 0);
  HAL_NVIC_EnableIRQ(DMA1_Stream3_IRQn);
  /* DMA1_Stream4_IRQn interrupt configuration */
  HAL_NVIC_SetPriority(DMA1_Stream4_IRQn, 5, 0);
  HAL_NVIC_EnableIRQ(DMA1_Stream4_IRQn);
  /* DMA1_Stream5_IRQn interrupt configuration */
  HAL_NVIC_SetPriority(DMA1_Stream5_IRQn, 5, 0);
  HAL_NVIC_EnableIRQ(DMA1_Stream5_IRQn);
  /* DMA1_Stream6_IRQn interrupt configuration */
  HAL_NVIC_SetPriority(DMA1_Stream6_IRQn, 5, 0);
  HAL_NVIC_EnableIRQ(DMA1_Stream6_IRQn);
  /* DMA1_Stream7_IRQn interrupt configuration */
  HAL_NVIC_SetPriority(DMA1_Stream7_IRQn, 5, 0);
  HAL_NVIC_EnableIRQ(DMA1_Stream7_IRQn);
  /* DMA2_Stream0_IRQn interrupt configuration */
  HAL_NVIC_SetPriority(DMA2_Stream0_IRQn, 5, 0);
  HAL_NVIC_EnableIRQ(DMA2_Stream0_IRQn);

}

static void MX_GPIO_Init(void)
{
  GPIO_InitTypeDef GPIO_InitStruct = {0};

  /* GPIO Ports Clock Enable */
  __HAL_RCC_GPIOE_CLK_ENABLE();
  __HAL_RCC_GPIOC_CLK_ENABLE();
  __HAL_RCC_GPIOH_CLK_ENABLE();
  __HAL_RCC_GPIOA_CLK_ENABLE();
  __HAL_RCC_GPIOB_CLK_ENABLE();

  /*Configure GPIO pin Output Level */
  HAL_GPIO_WritePin(GPIOE, GPIO_PIN_4, GPIO_PIN_RESET);

  /*Configure GPIO pin : PE4 */
  GPIO_InitStruct.Pin = GPIO_PIN_4;
  GPIO_InitStruct.Mode = GPIO_MODE_OUTPUT_PP;
  GPIO_InitStruct.Pull = GPIO_NOPULL;
  GPIO_InitStruct.Speed = GPIO_SPEED_FREQ_LOW;
  HAL_GPIO_Init(GPIOE, &GPIO_InitStruct);

  /*Configure GPIO pin : PE6 */
  GPIO_InitStruct.Pin = GPIO_PIN_6;
  GPIO_InitStruct.Mode = GPIO_MODE_INPUT;
  GPIO_InitStruct.Pull = GPIO_NOPULL;
  HAL_GPIO_Init(GPIOE, &GPIO_InitStruct);

}

void UpTaskF(void const * argument)
{
  /* USER CODE BEGIN 5 */
	/* Infinite loop */
	for (;;)
	{
		while (!UpSideFinish) //等待上位机下传指令解析完毕
		{
			osDelay(1);
		}
		UpSideFinish = 0; //下传指令解析完毕
		if (IdTest(UART1RXCache, 0)) //校验从上位机发来的数据
		{
			while (UpIO) //等待上位机数据读写完毕
			{
				osDelay(1);
			}
			UpIO = 1; //正在读写上位机数据
			for (u8 i = 0; i < UART1RXLen; ++i)
			{
				UpCache[i] = UART1RXCache[i]; //存储上位机发来的数据
			}
			UpIO = 0; //上位机数据读写完成
		}
		__HAL_UART_ENABLE_IT(&huart1, UART_IT_IDLE);
		HAL_UART_Receive_DMA(&huart1, UART1RXCache, UART1RXLen); //接收上位机发来的数据

		DownEn = 1; //允许下位仓通讯
		if (SensorCabin)
		{
			while (DownIO) //等待下位仓串口读写完成
			{
				osDelay(1);
			}
			DownIO = 1; //下位仓串口正在读�?
			for (u8 i = 0; i < UART1TXLen; ++i)
			{
				UART1TXCache_P[i] = DownCache[i]; //接收下位机回传的数据
			}
			DownIO = 0; //下位仓串口读写完�?
			HAL_UART_Transmit_DMA(&huart1, UART1TXCache_P, UART1TXLen); //转发下位机数据给上位�?
		}
		else
		{
			/* 上传数据处理 */
			SendBack(WaterDetect, TemCache, BaroCache, HumCache,
					AccelerationCache, RotSpeedCache, EulerAngleCache,
					MagnetisCache, WaterTempertureCache, DepthCache);
			HAL_UART_Transmit_DMA(&huart1, UART1TXCache_C, UART1TXLen);
		}
		SensorCabin = ~SensorCabin; //每间隔一次任务执行一次上传数据处�?
		HAL_IWDG_Refresh(&hiwdg1);
	}
  /* USER CODE END 5 */
}

void DownTaskF(void const * argument)
{
  /* USER CODE BEGIN DownTaskF */
	while (!DownEn) //等待下位仓激活指�?
	{
		osDelay(1); //否则不会启动该任�?
	}
	/* Infinite loop */
	for (;;)
	{
		/* �?启PID定向定深模式 */
		if (DownMoveDetect() == 2)
		{
			if (DIPFlag == 0)
			{
				DIPFlag = 1;
				DIPStartNum = EulerAngleCache[2];
			}
			SpecialMovePID(2, DIPStartNum, EulerAngleCache[2]);
		}
		else if (DownMoveDetect() == 4)
		{
			if (DIPFlag == 0)
			{
				DIPFlag = 1;
				DIPStartNum = DepthCache;
			}
			SpecialMovePID(4, DIPStartNum, DepthCache);
		}
		else
		{
			DIPFlag = 0; //不开启定向定�?
		}

		/* 下位仓数据收发就是个傻任务�?�传就完事了 */
		/* 有一说一这还不如直接把上位仓的串口直接连到下位仓来得方便 */
		while (UpIO) //等待上位仓数据读写完�?
		{
			osDelay(1);
		}
		UpIO = 1; //�?始上位机数据读写
		for (u8 i = 0; i < UART8TXLen; ++i) //向下位仓发�?�从上位机发来的指令数据
		{
			UART8TXCache[i] = UpCache[i];
		}
		UpIO = 0; //上位仓数据读写完�?
		HAL_UART_Transmit_DMA(&huart8, UART8TXCache, UART8TXLen); //�?始发送数�?

		while (!DownSideFinish) //等待下位仓�?�信处理完毕
		{
			osDelay(1);
		}
		DownSideFinish = 0; //下位仓�?�信处理完毕
		if (IdTest(UART8RXCache, 1)) //校验下位仓发来的数据
		{
			while (DownIO) //等待下位仓数据读写完�?
			{
				osDelay(1);
			}
			DownIO = 1; //�?始下位仓数据读写
			for (u8 i = 0; i < UART8RXLen; ++i) //收取下位仓发来的数据到缓存区
			{
				DownCache[i] = UART8RXCache[i];
			}
			DownIO = 0; //下位仓数据读写完�?
		}
		__HAL_UART_ENABLE_IT(&huart8, UART_IT_IDLE);
		HAL_UART_Receive_DMA(&huart8, UART8RXCache, UART8RXLen); //收取下位仓发来的串口数据
		HAL_IWDG_Refresh(&hiwdg1);
	}
  /* USER CODE END DownTaskF */
}

void InitialTaskF(void const * argument)
{
  /* USER CODE BEGIN InitialTaskF */
	//挂起任务防止初始化进程被打断
	vTaskSuspend(SensorTaskHandle);
	vTaskSuspend(UpTaskHandle);
	vTaskSuspend(DownTaskHandle);
	//初始化下位机
	HAL_GPIO_WritePin(GPIOE, GPIO_PIN_4, GPIO_PIN_RESET);
	HAL_GPIO_WritePin(GPIOE, GPIO_PIN_4, GPIO_PIN_SET);
	//初始化回传指�?
	SendBackPoint(UART1TXCache_C, &DeepIO, &WT931IO, &GY39IO);
	//初始化下传数据读取指�?
	DownDetectPoint(UpCache);
	//先开启上传任务和传感器处理任�?
	vTaskResume(UpTaskHandle);
	vTaskResume(SensorTaskHandle);
	//然后喂狗
	HAL_IWDG_Refresh(&hiwdg1);
	//挂起初始化任务不再执�?
	vTaskSuspend(InitialTaskHandle);
	/* Infinite loop */
	for (;;)
	{
		HAL_IWDG_Refresh(&hiwdg1);
		osDelay(1);
	}
  /* USER CODE END InitialTaskF */
}

void SensorTaskF(void const * argument)
{
  /* USER CODE BEGIN SensorTaskF */
	//初始化九轴对应DMA
	WT931Point(UART3RXCache);
	//初始化温湿度气压传感器对应DMA，并发�?�初始化数据
	GY39InitStr(UART2TXCache);
	HAL_UART_Transmit_DMA(&huart2, UART2TXCache, UART2TXLen);
	GY39Point(UART2RXCache);
	//初始化深度传感器对应DMA
	DeepPoint(UART4TXCache);
	/* Infinite loop */
	for (;;)
	{
		WaterDetect = HAL_GPIO_ReadPin(GPIOE, GPIO_PIN_6); //�?测漏�?

		if (WT931Finish) //等待九轴传感器数据解析完�?
		{
			while (WT931IO) //等待九轴传感器数据读写完�?
			{
				osDelay(1);
			}
			WT931IO = 1; //正在读写传感器数�?
			if (WT931Len == 44) //�?查读取到的传感器数据长度
			{
				WT931Take(AccelerationCache, RotSpeedCache, EulerAngleCache,
						MagnetisCache); //解析九轴数据
			}
			WT931Finish = 0; //传感器数据解析完�?
			HAL_UART_Receive_DMA(&huart3, UART3RXCache, UART2RXLen);
			__HAL_UART_ENABLE_IT(&huart3, UART_IT_IDLE);
			WT931IO = 0; //传感器数据读写完�?
		}
		if (GY39Finish) //等待温湿度大气压传感器数据解析完�?
		{
			while (GY39IO) //等待传感器数据读写完�?
			{
				osDelay(1);
			}
			GY39IO = 1; //正在读写传感器数�?
			GY39Take(&TemCache, BaroCache, &HumCache); //解析温湿度大气压传感器数�?
			GY39Finish = 0; //传感器数据解析完�?
			HAL_UART_Receive_DMA(&huart2, UART2RXCache, UART2RXLen);
			__HAL_UART_ENABLE_IT(&huart2, UART_IT_IDLE);
			GY39IO = 0; //传感器数据读写完�?
		}
		if (DeepFinish) //等待深度传感器数据解析完�?
		{
			while (DeepIO) //等待传感器数据读写完�?
			{
				osDelay(1);
			}
			DeepIO = 1; //正在读写传感器数�?
			DeepTake(&DepthCache, &WaterTempertureCache); //解析深度传感器数�?
			DeepFinish = 0; //传感器数据解析完�?
			HAL_UART_Receive_DMA(&huart4, UART4RXCache, UART4RXLen);
			__HAL_UART_ENABLE_IT(&huart4, UART_IT_IDLE);
			DeepIO = 0; //传感器数据读写完�?
		}
		HAL_IWDG_Refresh(&hiwdg1);
	}
  /* USER CODE END SensorTaskF */
}

void EmptyTaskF(void const * argument)
{
  /* USER CODE BEGIN EmptyTaskF */
	/* Infinite loop */
	for (;;)
	{
		HAL_IWDG_Refresh(&hiwdg1); //空闲时喂�?
	}
  /* USER CODE END EmptyTaskF */
}

 /**
  * @brief  Period elapsed callback in non blocking mode
  * @note   This function is called  when TIM6 interrupt took place, inside
  * HAL_TIM_IRQHandler(). It makes a direct call to HAL_IncTick() to increment
  * a global variable "uwTick" used as application time base.
  * @param  htim : TIM handle
  * @retval None
  */
void HAL_TIM_PeriodElapsedCallback(TIM_HandleTypeDef *htim)
{
  if (htim->Instance == TIM6) {
    HAL_IncTick();
  }
}

void Error_Handler(void)
{
	__disable_irq();
	while (1)
	{
	}
}

/************************ (C) COPYRIGHT STMicroelectronics *****END OF FILE****/
